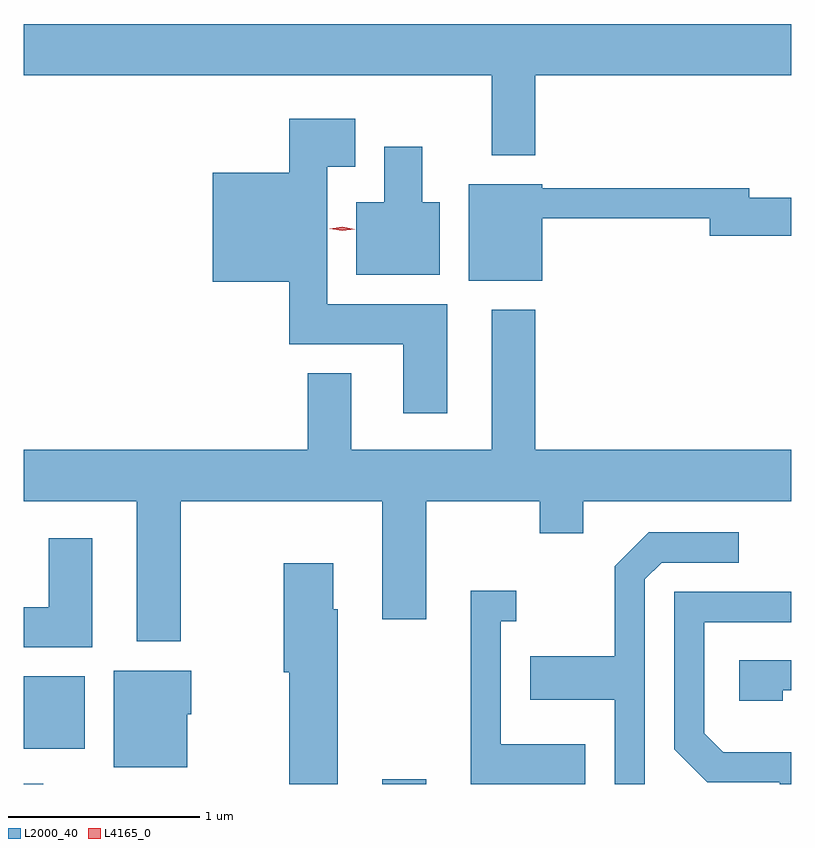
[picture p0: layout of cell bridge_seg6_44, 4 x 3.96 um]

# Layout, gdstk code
import gdstk
lib = gdstk.Library(unit=1e-6, precision=1e-09)
def R(c, l, rs):  # rectangles x0, y0, x1, y1
    for r in rs: c.add(gdstk.rectangle(r[:2], r[2:], *l))
def P(c, l, *ps):  # polygons
    for p in ps: c.add(gdstk.Polygon(p, *l))
L2000_40 = (2000, 40)
L4165_0 = (4165, 0)

bridge_seg6_44 = lib.new_cell('bridge_seg6_44')
R(bridge_seg6_44, L2000_40, [(1521.862,1641.803,1521.964,1641.804), (1523.731,1641.803,1523.959,1641.829), (1521.862,1641.986,1522.179,1642.364)])
P(bridge_seg6_44, L2000_40, [(1524.529,1645.496),(1525.862,1645.496),(1525.862,1645.764),(1521.862,1645.764),(1521.862,1645.496),(1524.301,1645.496),(1524.301,1645.081),(1524.529,1645.081)],
  [(1524.069,1644.304),(1523.444,1644.304),(1523.444,1645.021),(1523.589,1645.021),(1523.589,1645.269),(1523.246,1645.269),(1523.246,1644.989),(1522.846,1644.989),(1522.846,1644.421),(1523.246,1644.421),(1523.246,1644.096),(1523.841,1644.096),(1523.841,1643.736),(1524.069,1643.736)],
  [(1524.029,1644.834),(1523.939,1644.834),(1523.939,1645.124),(1523.741,1645.124),(1523.741,1644.834),(1523.596,1644.834),(1523.596,1644.456),(1524.029,1644.456)],
  [(1524.564,1644.751),(1525.436,1644.751),(1525.436,1644.661),(1525.862,1644.661),(1525.862,1644.859),(1525.644,1644.859),(1525.644,1644.909),(1524.564,1644.909),(1524.564,1644.929),(1524.181,1644.929),(1524.181,1644.426),(1524.564,1644.426)],
  [(1522.679,1643.276),(1523.731,1643.276),(1523.731,1642.661),(1523.959,1642.661),(1523.959,1643.276),(1524.551,1643.276),(1524.551,1643.111),(1524.779,1643.111),(1524.779,1643.276),(1525.862,1643.276),(1525.862,1643.544),(1524.529,1643.544),(1524.529,1644.274),(1524.301,1644.274),(1524.301,1643.544),(1523.569,1643.544),(1523.569,1643.944),(1523.341,1643.944),(1523.341,1643.544),(1521.862,1643.544),(1521.862,1643.276),(1522.451,1643.276),(1522.451,1642.546),(1522.679,1642.546)],
  [(1525.099,1642.869),(1525.187,1642.956),(1525.588,1642.956),(1525.588,1643.114),(1525.119,1643.114),(1524.941,1642.937),(1524.941,1642.469),(1524.501,1642.469),(1524.501,1642.241),(1524.941,1642.241),(1524.941,1641.803),(1525.099,1641.803)],
  [(1522.219,1643.084),(1521.991,1643.084),(1521.991,1642.724),(1521.862,1642.724),(1521.862,1642.516),(1522.219,1642.516)],
  [(1523.499,1642.714),(1523.474,1642.714),(1523.474,1642.954),(1523.216,1642.954),(1523.216,1642.386),(1523.246,1642.386),(1523.246,1641.803),(1523.499,1641.803)],
  [(1524.789,1642.009),(1524.349,1642.009),(1524.349,1642.651),(1524.428,1642.651),(1524.428,1642.809),(1524.191,1642.809),(1524.191,1641.803),(1524.789,1641.803)],
  [(1525.862,1641.969),(1525.507,1641.969),(1525.409,1642.067),(1525.409,1642.646),(1525.862,1642.646),(1525.862,1642.804),(1525.251,1642.804),(1525.251,1641.984),(1525.424,1641.811),(1525.801,1641.811),(1525.801,1641.803),(1525.862,1641.803)],
  [(1525.819,1642.291),(1525.862,1642.291),(1525.862,1642.449),(1525.591,1642.449),(1525.591,1642.236),(1525.819,1642.236)],
  [(1522.714,1642.166),(1522.734,1642.166),(1522.734,1642.394),(1522.331,1642.394),(1522.331,1641.891),(1522.714,1641.891)])
P(bridge_seg6_44, L4165_0, [(1523.522,1644.686),(1523.456,1644.697),(1523.455,1644.697),(1523.456,1644.698),(1523.522,1644.706),(1523.588,1644.695),(1523.588,1644.695),(1523.588,1644.694)])

lib.write_gds('bridge_seg6_44.gds')
